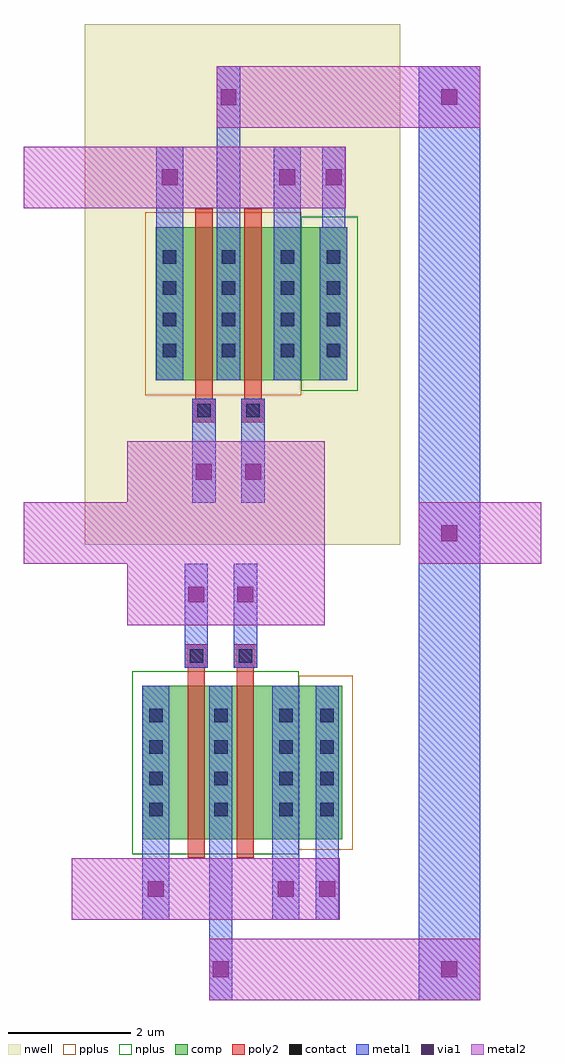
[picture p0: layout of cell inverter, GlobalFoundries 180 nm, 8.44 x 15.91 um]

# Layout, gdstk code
import gdstk
lib = gdstk.Library(unit=1e-6, precision=1e-09)
def R(c, l, rs):  # rectangles x0, y0, x1, y1
    for r in rs: c.add(gdstk.rectangle(r[:2], r[2:], *l))
def A(c, l, x, y, w, h, nx, ny, dx, dy):  # array of equal rectangles
    R(c, l, [(x+i*dx, y+j*dy, x+i*dx+w, y+j*dy+h) for i in range(nx) for j in range(ny)])
nwell = (21, 0)
comp = (22, 0)
poly2 = (30, 0)
pplus = (31, 0)
nplus = (32, 0)
contact = (33, 0)
metal1 = (34, 0)
via1 = (35, 0)
metal2 = (36, 0)

xma_inverter = lib.new_cell('XMa_inverter')
R(xma_inverter, comp, [(-0.42,0,0,2.5), (0,0,1.7,2.5), (1.7,0,2.12,2.5), (2.12,0,2.83,2.5)])
R(xma_inverter, poly2, [(0.31,-0.3,0.59,2.8), (1.11,-0.3,1.39,2.8), (0.26,2.8,0.64,3.18), (1.06,2.8,1.44,3.18)])
R(xma_inverter, pplus, [(2.12,-0.17,3,2.67)])
R(xma_inverter, nplus, [(-0.59,-0.24,2.12,2.74)])
A(xma_inverter, contact, 2.475, 0.375, 0.22, 0.22, 1, 4, 0, 0.51)
R(xma_inverter, contact, [(-0.32,0.375,-0.1,0.595), (-0.32,0.375,-0.1,0.595), (0.74,0.375,0.96,0.595), (0.74,0.375,0.96,0.595), (1.8,0.375,2.02,0.595), (1.8,0.375,2.02,0.595), (-0.32,0.885,-0.1,1.105), (-0.32,0.885,-0.1,1.105), (0.74,0.885,0.96,1.105), (0.74,0.885,0.96,1.105), (1.8,0.885,2.02,1.105), (1.8,0.885,2.02,1.105), (-0.32,1.395,-0.1,1.615), (-0.32,1.395,-0.1,1.615), (0.74,1.395,0.96,1.615), (0.74,1.395,0.96,1.615), (1.8,1.395,2.02,1.615), (1.8,1.395,2.02,1.615), (-0.32,1.905,-0.1,2.125), (-0.32,1.905,-0.1,2.125), (0.74,1.905,0.96,2.125), (0.74,1.905,0.96,2.125), (1.8,1.905,2.02,2.125), (1.8,1.905,2.02,2.125), (0.34,2.88,0.56,3.1), (1.14,2.88,1.36,3.1)])
R(xma_inverter, metal1, [(0.66,-2.62,1.04,2.5), (-0.43,-1.31,0.01,2.5), (1.69,-1.31,2.13,2.5), (-0.43,0,0.01,2.5), (-0.43,0,0.01,2.5), (0.66,0,1.04,2.5), (0.66,0,1.04,2.5), (1.69,0,2.13,2.5), (1.69,0,2.13,2.5), (2.395,0,2.775,2.5), (0.26,2.799,0.64,3.181), (0.26,2.799,0.64,4.491), (1.06,2.799,1.44,3.181), (1.06,2.799,1.44,4.491)])
R(xma_inverter, via1, [(0.72,-2.25,0.98,-1.99), (-0.34,-0.94,-0.08,-0.68), (1.78,-0.94,2.04,-0.68), (0.32,3.861,0.58,4.121), (1.12,3.861,1.38,4.121)])
R(xma_inverter, metal2, [(0.66,-2.62,1.04,-1.62), (-0.43,-1.31,2.13,-0.31), (0,3.491,2.54,4.491)])

labels2ports_8762d3e4 = lib.new_cell('labels2ports_8762d3e4')
labels2ports_8762d3e4.add(gdstk.Reference(xma_inverter, (0,0)))

xmb_inverter = lib.new_cell('XMb_inverter')
R(xmb_inverter, nwell, [(-1.61,-2.681,3.53,5.811)])
R(xmb_inverter, comp, [(-0.46,0,0,2.5), (0,0,1.46,2.5), (1.46,0,1.92,2.5), (1.92,0,2.67,2.5)])
R(xmb_inverter, poly2, [(0.14,-0.68,0.52,-0.3), (0.94,-0.68,1.32,-0.3), (0.19,-0.3,0.47,2.8), (0.99,-0.3,1.27,2.8)])
R(xmb_inverter, pplus, [(-0.63,-0.24,1.92,2.74)])
R(xmb_inverter, nplus, [(1.92,-0.17,2.84,2.67)])
A(xmb_inverter, contact, 2.335, 0.375, 0.22, 0.22, 1, 4, 0, 0.51)
R(xmb_inverter, contact, [(0.22,-0.6,0.44,-0.38), (1.02,-0.6,1.24,-0.38), (-0.34,0.375,-0.12,0.595), (-0.34,0.375,-0.12,0.595), (0.62,0.375,0.84,0.595), (0.62,0.375,0.84,0.595), (1.58,0.375,1.8,0.595), (1.58,0.375,1.8,0.595), (-0.34,0.885,-0.12,1.105), (-0.34,0.885,-0.12,1.105), (0.62,0.885,0.84,1.105), (0.62,0.885,0.84,1.105), (1.58,0.885,1.8,1.105), (1.58,0.885,1.8,1.105), (-0.34,1.395,-0.12,1.615), (-0.34,1.395,-0.12,1.615), (0.62,1.395,0.84,1.615), (0.62,1.395,0.84,1.615), (1.58,1.395,1.8,1.615), (1.58,1.395,1.8,1.615), (-0.34,1.905,-0.12,2.125), (-0.34,1.905,-0.12,2.125), (0.62,1.905,0.84,2.125), (0.62,1.905,0.84,2.125), (1.58,1.905,1.8,2.125), (1.58,1.905,1.8,2.125)])
R(xmb_inverter, metal1, [(0.14,-1.991,0.52,-0.299), (0.94,-1.991,1.32,-0.299), (0.14,-0.681,0.52,-0.299), (0.94,-0.681,1.32,-0.299), (-0.45,0,-0.01,2.5), (-0.45,0,-0.01,2.5), (-0.45,0,-0.01,3.81), (0.54,0,0.92,2.5), (0.54,0,0.92,2.5), (0.54,0,0.92,5.12), (1.47,0,1.91,2.5), (1.47,0,1.91,2.5), (1.47,0,1.91,3.81), (2.22,0,2.67,2.5)])
R(xmb_inverter, via1, [(0.2,-1.621,0.46,-1.361), (1,-1.621,1.26,-1.361), (-0.36,3.18,-0.1,3.44), (1.56,3.18,1.82,3.44), (0.6,4.49,0.86,4.75)])
R(xmb_inverter, metal2, [(-0.92,-1.991,1.46,-0.991), (-0.45,2.81,1.91,3.81), (0.54,4.12,0.92,5.12)])

labels2ports_751b023e = lib.new_cell('labels2ports_751b023e')
labels2ports_751b023e.add(gdstk.Reference(xmb_inverter, (0,0)))

compass_250360d7 = lib.new_cell('compass_250360d7')
R(compass_250360d7, metal1, [(-0.19,-1.28,0.19,1.28)])

rectangle_250360d7 = lib.new_cell('rectangle_250360d7')
rectangle_250360d7.add(gdstk.Reference(compass_250360d7, (0.19,1.28)))

compass_71df631e = lib.new_cell('compass_71df631e')
R(compass_71df631e, metal2, [(-0.323,-0.5,0.323,0.5)])

rectangle_71df631e = lib.new_cell('rectangle_71df631e')
rectangle_71df631e.add(gdstk.Reference(compass_71df631e, (0.323,0.5)))

compass_0e2264c9 = lib.new_cell('compass_0e2264c9')
R(compass_0e2264c9, via1, [(-0.13,-0.13,0.13,0.13)])

rectangle_0e2264c9 = lib.new_cell('rectangle_0e2264c9')
rectangle_0e2264c9.add(gdstk.Reference(compass_0e2264c9, (0.13,0.13)))

via_generator_38614fad = lib.new_cell('via_generator_38614fad')
r = gdstk.Reference(rectangle_0e2264c9, (0.06,0.37)); r.repetition = gdstk.Repetition(1, 1, v1=(0.55,0), v2=(0,0.55)); via_generator_38614fad.add(r)

compass_layer36__0_size0 = lib.new_cell('compass_layer36__0_size0p4__1')
R(compass_layer36__0_size0, metal2, [(-0.2,-0.5,0.2,0.5)])

rectangle_layer36__0_siz = lib.new_cell('rectangle_layer36__0_size0p4__1')
rectangle_layer36__0_siz.add(gdstk.Reference(compass_layer36__0_size0, (0.2,0.5)))

via_stack_94d12b4e = lib.new_cell('via_stack_94d12b4e')
via_stack_94d12b4e.add(gdstk.Reference(via_generator_38614fad, (0,0)))
via_stack_94d12b4e.add(gdstk.Reference(rectangle_layer36__0_siz, (-0.01,0)))

gen_sub_source_conn_96f5 = lib.new_cell('gen_sub_source_conn_96f51d75')
gen_sub_source_conn_96f5.add(gdstk.Reference(rectangle_250360d7, (2.395,-1.31)))
gen_sub_source_conn_96f5.add(gdstk.Reference(rectangle_71df631e, (2.128,-1.31)))
gen_sub_source_conn_96f5.add(gdstk.Reference(via_stack_94d12b4e, (2.395,-1.31)))

compass_cbbc8fe1 = lib.new_cell('compass_cbbc8fe1')
R(compass_cbbc8fe1, metal2, [(-0.363,-0.5,0.363,0.5)])

rectangle_cbbc8fe1 = lib.new_cell('rectangle_cbbc8fe1')
rectangle_cbbc8fe1.add(gdstk.Reference(compass_cbbc8fe1, (0.363,0.5)))

gen_sub_source_conn_981d = lib.new_cell('gen_sub_source_conn_981d3ee6')
gen_sub_source_conn_981d.add(gdstk.Reference(rectangle_250360d7, (2.5,8.732)))
gen_sub_source_conn_981d.add(gdstk.Reference(rectangle_cbbc8fe1, (2.153,10.291)))
gen_sub_source_conn_981d.add(gdstk.Reference(via_stack_94d12b4e, (2.5,10.292)))

compass_88d08b2e = lib.new_cell('compass_88d08b2e')
R(compass_88d08b2e, metal2, [(-2.022,-0.5,2.022,0.5)])

rectangle_88d08b2e = lib.new_cell('rectangle_88d08b2e')
rectangle_88d08b2e.add(gdstk.Reference(compass_88d08b2e, (2.022,0.5)))

compass_4ac8f909 = lib.new_cell('compass_4ac8f909')
R(compass_4ac8f909, metal1, [(-0.5,-7.611,0.5,7.611)])

rectangle_4ac8f909 = lib.new_cell('rectangle_4ac8f909')
rectangle_4ac8f909.add(gdstk.Reference(compass_4ac8f909, (0.5,7.611)))

via_generator_d5ed4b09 = lib.new_cell('via_generator_d5ed4b09')
r = gdstk.Reference(rectangle_0e2264c9, (0.37,0.37)); r.repetition = gdstk.Repetition(1, 1, v1=(0.55,0), v2=(0,0.55)); via_generator_d5ed4b09.add(r)

compass_layer36__0_size1 = lib.new_cell('compass_layer36__0_size1__1')
R(compass_layer36__0_size1, metal2, [(-0.5,-0.5,0.5,0.5)])

c_rectangle_layer36__0_siz = lib.new_cell('rectangle_layer36__0_size1__1')
c_rectangle_layer36__0_siz.add(gdstk.Reference(compass_layer36__0_size1, (0.5,0.5)))

via_stack_97daccb3 = lib.new_cell('via_stack_97daccb3')
via_stack_97daccb3.add(gdstk.Reference(via_generator_d5ed4b09, (0,0)))
via_stack_97daccb3.add(gdstk.Reference(c_rectangle_layer36__0_siz, (0,0)))

gen_hm2_vm1_c_conn_c039b = lib.new_cell('gen_hm2_vm1_c_conn_c039b20b')
r = gdstk.Reference(rectangle_88d08b2e, (1.031,-2.62)); r.repetition = gdstk.Repetition(1, 2, v1=(1,0), v2=(0,14.2215)); gen_hm2_vm1_c_conn_c039b.add(r)
gen_hm2_vm1_c_conn_c039b.add(gdstk.Reference(rectangle_4ac8f909, (4.076,-2.62)))
r = gdstk.Reference(via_stack_97daccb3, (4.076,-2.62)); r.repetition = gdstk.Repetition(1, 2, v1=(1,0), v2=(0,14.2215)); gen_hm2_vm1_c_conn_c039b.add(r)

compass_f09c0623 = lib.new_cell('compass_f09c0623')
R(compass_f09c0623, metal2, [(-1.608,-1.5,1.608,1.5)])

rectangle_f09c0623 = lib.new_cell('rectangle_f09c0623')
rectangle_f09c0623.add(gdstk.Reference(compass_f09c0623, (1.607,1.5)))

connect_gates_sd_2devs_b = lib.new_cell('connect_gates_sd_2devs_bcf91cb5')
connect_gates_sd_2devs_b.add(gdstk.Reference(rectangle_f09c0623, (-0.674,3.491)))

compass_dc21c9ec = lib.new_cell('compass_dc21c9ec')
R(compass_dc21c9ec, metal2, [(-0.845,-0.5,0.845,0.5)])

rectangle_dc21c9ec = lib.new_cell('rectangle_dc21c9ec')
rectangle_dc21c9ec.add(gdstk.Reference(compass_dc21c9ec, (0.845,0.5)))

c_compass_layer36__0_size1 = lib.new_cell('compass_layer36__0_size1p16__1')
R(c_compass_layer36__0_size1, metal2, [(-0.58,-0.5,0.58,0.5)])

c_rectangle_layer36__0_siz_ = lib.new_cell('rectangle_layer36__0_size1p16__1')
c_rectangle_layer36__0_siz_.add(gdstk.Reference(c_compass_layer36__0_size1, (0.58,0.5)))

compass_layer36__0_size2 = lib.new_cell('compass_layer36__0_size2__1')
R(compass_layer36__0_size2, metal2, [(-1,-0.5,1,0.5)])

c_rectangle_layer36__0_siz__ = lib.new_cell('rectangle_layer36__0_size2__1')
c_rectangle_layer36__0_siz__.add(gdstk.Reference(compass_layer36__0_size2, (1,0.5)))

compass_layer36__0_size4 = lib.new_cell('compass_layer36__0_size4p52__1')
R(compass_layer36__0_size4, metal2, [(-2.26,-0.5,2.26,0.5)])

c_rectangle_layer36__0_siz___ = lib.new_cell('rectangle_layer36__0_size4p52__1')
c_rectangle_layer36__0_siz___.add(gdstk.Reference(compass_layer36__0_size4, (2.26,0.5)))

gen_inv_like_structures_ = lib.new_cell('gen_inv_like_structures_common_connections_e3c919d8')
gen_inv_like_structures_.add(gdstk.Reference(gen_hm2_vm1_c_conn_c039b, (0,0)))
gen_inv_like_structures_.add(gdstk.Reference(connect_gates_sd_2devs_b, (0,0)))
gen_inv_like_structures_.add(gdstk.Reference(rectangle_dc21c9ec, (-2.363,4.491)))
gen_inv_like_structures_.add(gdstk.Reference(c_rectangle_layer36__0_siz_, (-1.58,-1.31)))
gen_inv_like_structures_.add(gdstk.Reference(c_rectangle_layer36__0_siz__, (4.076,4.491)))
gen_inv_like_structures_.add(gdstk.Reference(via_stack_97daccb3, (4.076,4.491)))
gen_inv_like_structures_.add(gdstk.Reference(c_rectangle_layer36__0_siz___, (-2.365,10.291)))
gen_inv_like_structures_.add(gdstk.Label('Vin', (-1.518,4.991), layer=36, texttype=10))
gen_inv_like_structures_.add(gdstk.Label('GND', (-1,-0.81), layer=36, texttype=10))
gen_inv_like_structures_.add(gdstk.Label('Vout', (5.576,4.991), layer=36, texttype=10))
gen_inv_like_structures_.add(gdstk.Label('VDD', (-1.865,10.792), layer=36, texttype=10))

inv_like_2t_structures_2 = lib.new_cell('inv_like_2t_structures_2d103b86')
inv_like_2t_structures_2.add(gdstk.Reference(gen_sub_source_conn_96f5, (0,0)))
inv_like_2t_structures_2.add(gdstk.Reference(gen_sub_source_conn_981d, (0,0)))
inv_like_2t_structures_2.add(gdstk.Reference(gen_inv_like_structures_, (0,0)))

inverter = lib.new_cell('inverter')
inverter.add(gdstk.Reference(labels2ports_8762d3e4, (0,0)))
inverter.add(gdstk.Reference(labels2ports_751b023e, (0.245,7.481)))
inverter.add(gdstk.Reference(inv_like_2t_structures_2, (0,0)))

lib.write_gds('inverter.gds')
